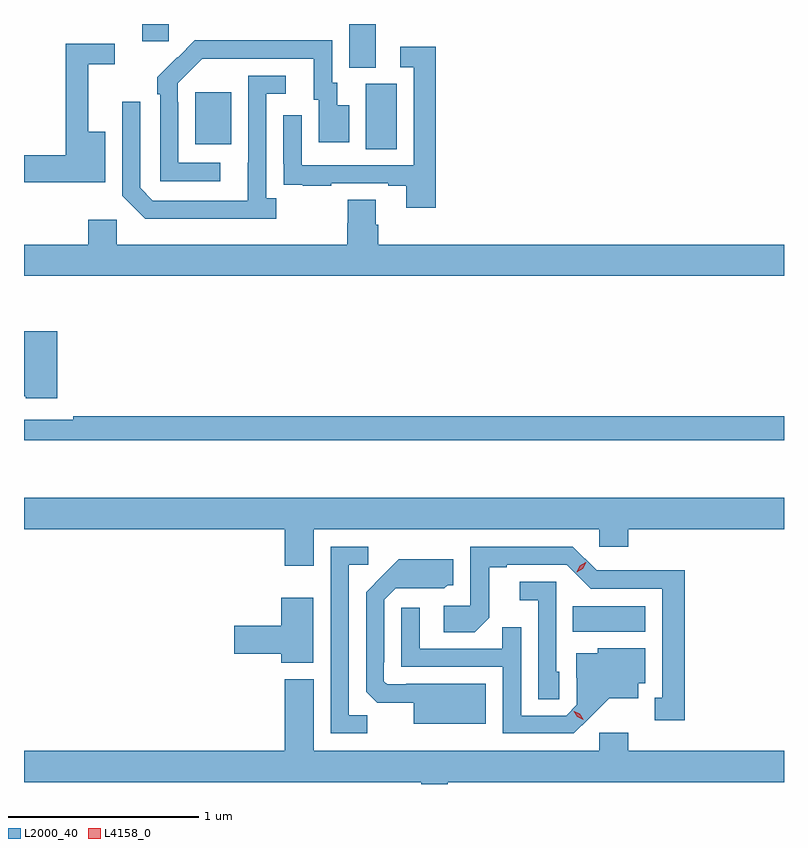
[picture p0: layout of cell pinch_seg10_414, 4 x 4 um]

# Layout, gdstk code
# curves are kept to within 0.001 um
import gdstk
lib = gdstk.Library(unit=1e-6, precision=1e-09)
def R(c, l, rs):  # rectangles x0, y0, x1, y1
    for r in rs: c.add(gdstk.rectangle(r[:2], r[2:], *l))
def P(c, l, *ps):  # polygons
    for p in ps: c.add(gdstk.Polygon(p, *l))
L2000_40 = (2000, 40)
L4158_0 = (4158, 0)

pinch_seg10_414 = lib.new_cell('pinch_seg10_414')
R(pinch_seg10_414, L2000_40, [(363.364,1311.764,363.748,1311.898), (362.276,1314.304,362.44,1314.648), (361.379,1314.329,361.567,1314.604), (362.189,1314.733,362.329,1314.962), (361.1,1314.87,361.239,1314.962)])
P(pinch_seg10_414, L2000_40, [(361.51,1314.231),(361.29,1314.231),(361.29,1314.551),(361.287,1314.551),(361.287,1314.651),(361.416,1314.78),(362.003,1314.78),(362.003,1314.564),(362.027,1314.564),(362.027,1314.339),(362.188,1314.339),(362.188,1314.535),(362.125,1314.535),(362.125,1314.654),(362.1,1314.654),(362.1,1314.876),(361.376,1314.876),(361.179,1314.681),(361.179,1314.593),(361.194,1314.593),(361.194,1314.135),(361.51,1314.135)],
  [(360.904,1314.394),(360.815,1314.394),(360.815,1314.75),(360.955,1314.75),(360.955,1314.858),(360.697,1314.858),(360.697,1314.272),(360.477,1314.272),(360.477,1314.13),(360.904,1314.13)],
  [(362.645,1314.841),(362.457,1314.841),(362.457,1314.735),(362.529,1314.735),(362.529,1314.219),(361.938,1314.219),(361.938,1314.481),(361.842,1314.481),(361.842,1314.226),(361.843,1314.226),(361.843,1314.117),(361.945,1314.117),(361.945,1314.111),(362.093,1314.111),(362.093,1314.123),(362.393,1314.123),(362.393,1314.111),(362.489,1314.111),(362.489,1313.994),(362.645,1313.994)],
  [(361.804,1314.046),(361.752,1314.046),(361.752,1314.594),(361.855,1314.594),(361.855,1314.69),(361.656,1314.69),(361.655,1314.033),(361.155,1314.033),(361.089,1314.099),(361.089,1314.553),(360.993,1314.553),(360.993,1314.057),(361.114,1313.936),(361.804,1313.936)],
  [(362.182,1314.038),(362.182,1313.913),(362.177,1313.913),(362.177,1313.8),(360.966,1313.8),(360.966,1313.932),(360.815,1313.932),(360.815,1313.8),(360.477,1313.8),(360.477,1313.636),(364.477,1313.636),(364.477,1313.8),(362.342,1313.8),(362.342,1313.906),(362.329,1313.906),(362.329,1314.038)],
  [(360.653,1313.344),(360.477,1313.344),(360.477,1313.004),(360.486,1313.004),(360.486,1312.991),(360.653,1312.991)],
  [(364.477,1312.898),(360.736,1312.898),(360.736,1312.878),(360.477,1312.878),(360.477,1312.77),(364.477,1312.77)],
  [(362.002,1312.304),(363.504,1312.304),(363.504,1312.211),(363.656,1312.211),(363.656,1312.304),(364.477,1312.304),(364.477,1312.468),(360.477,1312.468),(360.477,1312.304),(361.85,1312.304),(361.85,1312.11),(362.002,1312.11)],
  [(363.955,1312.088),(363.714,1312.088),(363.714,1312.086),(363.492,1312.086),(363.366,1312.212),(362.826,1312.212),(362.826,1311.9),(362.685,1311.9),(362.685,1311.76),(362.849,1311.76),(362.925,1311.836),(362.925,1312.104),(363.019,1312.104),(363.019,1312.116),(363.333,1312.116),(363.459,1311.99),(363.836,1311.99),(363.836,1311.417),(363.797,1311.417),(363.797,1311.297),(363.955,1311.297)],
  [(362.283,1311.323),(362.187,1311.323),(362.187,1312.116),(362.29,1312.116),(362.29,1312.212),(362.091,1312.212),(362.091,1311.228),(362.283,1311.228)],
  [(362.908,1311.49),(362.488,1311.49),(362.488,1311.486),(362.388,1311.486),(362.37,1311.504),(362.37,1311.604),(362.373,1311.604),(362.373,1311.933),(362.433,1311.993),(362.69,1311.992),(362.706,1312.008),(362.737,1312.008),(362.737,1312.144),(362.449,1312.144),(362.277,1311.97),(362.277,1311.448),(362.336,1311.389),(362.528,1311.389),(362.528,1311.278),(362.908,1311.278)],
  [(363.294,1311.552),(363.279,1311.552),(363.279,1312.026),(363.087,1312.026),(363.087,1311.929),(363.183,1311.929),(363.183,1311.409),(363.294,1311.409)],
  [(361.999,1311.943),(361.832,1311.943),(361.832,1311.794),(361.584,1311.794),(361.584,1311.647),(361.832,1311.647),(361.832,1311.599),(361.999,1311.599)],
  [(363.454,1311.311),(363.557,1311.413),(363.709,1311.413),(363.709,1311.492),(363.748,1311.492),(363.748,1311.676),(363.498,1311.676),(363.498,1311.649),(363.383,1311.649),(363.383,1311.52),(363.387,1311.52),(363.387,1311.378),(363.33,1311.321),(363.093,1311.321),(363.093,1311.788),(362.995,1311.788),(362.995,1311.675),(362.559,1311.675),(362.559,1311.889),(362.463,1311.889),(362.463,1311.579),(362.997,1311.579),(362.997,1311.228),(363.37,1311.228)],
  [(362.707,1310.972),(364.477,1310.972),(364.477,1311.136),(363.656,1311.136),(363.656,1311.232),(363.504,1311.232),(363.504,1311.136),(362.002,1311.136),(362.002,1311.514),(361.85,1311.514),(361.85,1311.136),(360.477,1311.136),(360.477,1310.972),(362.567,1310.972),(362.567,1310.962),(362.707,1310.962)])
P(pinch_seg10_414, L4158_0, [(363.385,1312.077),(363.385,1312.077),(363.403,1312.11),(363.434,1312.129),(363.435,1312.129),(363.435,1312.129),(363.417,1312.096),(363.386,1312.077)],
  [(363.42,1311.301),(363.389,1311.316),(363.371,1311.346),(363.371,1311.346),(363.372,1311.346),(363.402,1311.331),(363.42,1311.302),(363.42,1311.301)])

lib.write_gds('pinch_seg10_414.gds')
